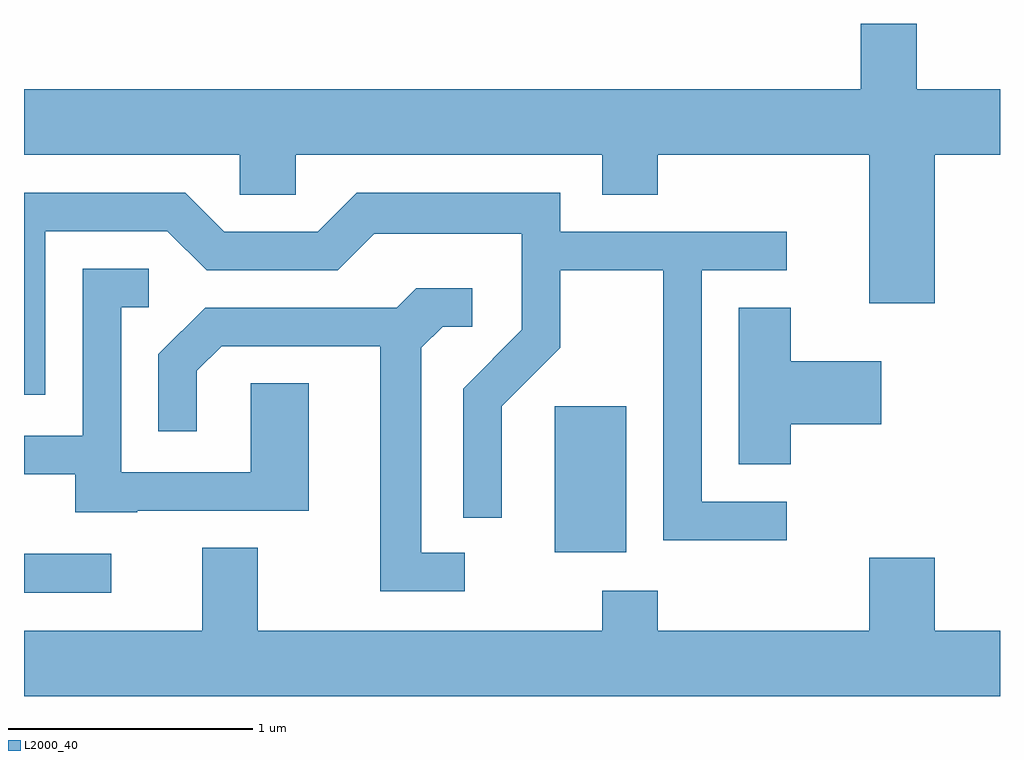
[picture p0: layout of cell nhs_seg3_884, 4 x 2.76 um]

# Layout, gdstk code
import gdstk
lib = gdstk.Library(unit=1e-6, precision=1e-09)
def R(c, l, rs):  # rectangles x0, y0, x1, y1
    for r in rs: c.add(gdstk.rectangle(r[:2], r[2:], *l))
def P(c, l, *ps):  # polygons
    for p in ps: c.add(gdstk.Polygon(p, *l))
L2000_40 = (2000, 40)

nhs_seg3_884 = lib.new_cell('nhs_seg3_884')
R(nhs_seg3_884, L2000_40, [(211.611,1117.561,211.968,1117.719), (213.786,1117.726,214.079,1118.324)])
P(nhs_seg3_884, L2000_40, [(215.344,1119.356),(215.611,1119.356),(215.611,1119.624),(215.269,1119.624),(215.269,1119.892),(215.041,1119.892),(215.041,1119.624),(211.611,1119.624),(211.611,1119.356),(212.496,1119.356),(212.496,1119.191),(212.724,1119.191),(212.724,1119.356),(213.981,1119.356),(213.981,1119.191),(214.209,1119.191),(214.209,1119.356),(215.076,1119.356),(215.076,1118.746),(215.344,1118.746)],
  [(214.738,1117.934),(214.389,1117.934),(214.389,1118.881),(214.738,1118.881),(214.738,1119.039),(213.809,1119.039),(213.809,1119.199),(212.974,1119.199),(212.814,1119.039),(212.432,1119.039),(212.272,1119.199),(211.611,1119.199),(211.611,1118.371),(211.699,1118.371),(211.699,1119.041),(212.199,1119.041),(212.359,1118.881),(212.897,1118.881),(213.047,1119.031),(213.651,1119.031),(213.651,1118.637),(213.411,1118.397),(213.411,1117.868),(213.569,1117.868),(213.569,1118.324),(213.809,1118.564),(213.809,1118.881),(214.231,1118.881),(214.231,1117.776),(214.738,1117.776)],
  [(212.075,1117.896),(212.779,1117.896),(212.779,1118.419),(212.541,1118.419),(212.541,1118.054),(212.009,1118.054),(212.009,1118.731),(212.123,1118.731),(212.123,1118.889),(211.851,1118.889),(211.851,1118.204),(211.611,1118.204),(211.611,1118.046),(211.821,1118.046),(211.821,1117.891),(212.075,1117.891)],
  [(213.418,1117.724),(213.239,1117.724),(213.239,1118.564),(213.327,1118.651),(213.448,1118.651),(213.448,1118.809),(213.219,1118.809),(213.139,1118.729),(212.354,1118.729),(212.161,1118.537),(212.161,1118.223),(212.319,1118.223),(212.319,1118.469),(212.422,1118.571),(213.071,1118.571),(213.071,1117.566),(213.418,1117.566)],
  [(214.754,1118.251),(215.124,1118.251),(215.124,1118.509),(214.754,1118.509),(214.754,1118.729),(214.541,1118.729),(214.541,1118.086),(214.754,1118.086)],
  [(215.611,1117.404),(215.344,1117.404),(215.344,1117.704),(215.076,1117.704),(215.076,1117.404),(214.209,1117.404),(214.209,1117.569),(213.981,1117.569),(213.981,1117.404),(212.569,1117.404),(212.569,1117.744),(212.341,1117.744),(212.341,1117.404),(211.611,1117.404),(211.611,1117.136),(215.611,1117.136)])

lib.write_gds('nhs_seg3_884.gds')
